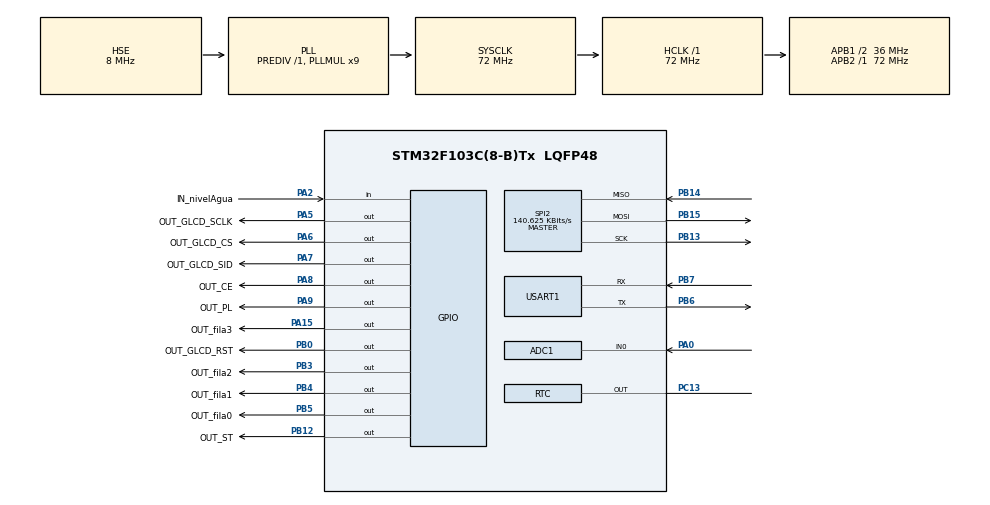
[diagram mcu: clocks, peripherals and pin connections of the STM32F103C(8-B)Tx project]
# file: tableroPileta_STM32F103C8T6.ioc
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ADC1.Channel-0\#ChannelRegularConversion=ADC_CHANNEL_0
ADC1.NbrOfConversionFlag=1
ADC1.Rank-0\#ChannelRegularConversion=1
ADC1.SamplingTime-0\#ChannelRegularConversion=ADC_SAMPLETIME_1CYCLE_5
ADC1.master=1
Mcu.Family=STM32F1
Mcu.Name=STM32F103C(8-B)Tx
Mcu.Package=LQFP48
NVIC.PriorityGroup=NVIC_PRIORITYGROUP_4
NVIC.RTC_Alarm_IRQn=true\:0\:0\:false\:false\:true\:true\:true
NVIC.RTC_IRQn=true\:0\:0\:false\:false\:true\:true\:true
NVIC.TIM2_IRQn=true\:0\:0\:false\:false\:true\:true\:true
PA0-WKUP.Signal=ADCx_IN0
PA13.Mode=Serial_Wire
PA13.Signal=SYS_JTMS-SWDIO
PA14.Mode=Serial_Wire
PA14.Signal=SYS_JTCK-SWCLK
PA15.GPIO_Label=OUT_fila3
PA15.Signal=GPIO_Output
PA2.GPIO_Label=IN_nivelAgua
PA2.GPIO_PuPd=GPIO_PULLUP
PA2.Signal=GPIO_Input
PA5.GPIO_Label=OUT_GLCD_SCLK
PA5.Signal=GPIO_Output
PA6.GPIO_Label=OUT_GLCD_CS
PA6.Signal=GPIO_Output
PA7.GPIO_Label=OUT_GLCD_SID
PA7.Signal=GPIO_Output
PA8.GPIO_Label=OUT_CE
PA8.Signal=GPIO_Output
PA9.GPIO_Label=OUT_PL
PA9.Signal=GPIO_Output
PB0.GPIO_Label=OUT_GLCD_RST
PB0.Signal=GPIO_Output
PB12.GPIO_Label=OUT_ST
PB12.Signal=GPIO_Output
PB13.Mode=Full_Duplex_Master
PB13.Signal=SPI2_SCK
PB14.Mode=Full_Duplex_Master
PB14.Signal=SPI2_MISO
PB15.Mode=Full_Duplex_Master
PB15.Signal=SPI2_MOSI
PB3.GPIO_Label=OUT_fila2
PB3.Signal=GPIO_Output
PB4.GPIO_Label=OUT_fila1
PB4.Signal=GPIO_Output
PB5.GPIO_Label=OUT_fila0
PB5.Signal=GPIO_Output
PB6.Mode=Asynchronous
PB6.Signal=USART1_TX
PB7.Mode=Asynchronous
PB7.Signal=USART1_RX
PC13-TAMPER-RTC.Mode=RTC OUT
PC13-TAMPER-RTC.Signal=RTC_OUT
PC14-OSC32_IN.Mode=LSE-External-Oscillator
PC14-OSC32_IN.Signal=RCC_OSC32_IN
PC15-OSC32_OUT.Mode=LSE-External-Oscillator
PC15-OSC32_OUT.Signal=RCC_OSC32_OUT
PD0-OSC_IN.Mode=HSE-External-Oscillator
PD0-OSC_IN.Signal=RCC_OSC_IN
PD1-OSC_OUT.Mode=HSE-External-Oscillator
PD1-OSC_OUT.Signal=RCC_OSC_OUT
ProjectManager.HeapSize=0x200
ProjectManager.StackSize=0x400
ProjectManager.TargetToolchain=STM32CubeIDE
RCC.ADCPresc=RCC_ADCPCLK2_DIV6
RCC.AHBFreq_Value=72000000
RCC.APB1CLKDivider=RCC_HCLK_DIV2
RCC.APB1Freq_Value=36000000
RCC.APB1TimFreq_Value=72000000
RCC.APB2Freq_Value=72000000
RCC.APB2TimFreq_Value=72000000
RCC.HCLKFreq_Value=72000000
RCC.PLLMUL=RCC_PLL_MUL9
RCC.PLLSourceVirtual=RCC_PLLSOURCE_HSE
RCC.SYSCLKFreq_VALUE=72000000
RCC.SYSCLKSource=RCC_SYSCLKSOURCE_PLLCLK
RCC.USBFreq_Value=72000000
RTC.Hours=12
RTC.Hours_A-RTC\ OUT=13
RTC.Minutes=59
RTC.Minutes_A-RTC\ OUT=1
RTC.Month=RTC_MONTH_MAY
RTC.OutPut=RTC_OUTPUTSOURCE_ALARM
RTC.Seconds=30
SH.ADCx_IN0.0=ADC1_IN0,IN0
SPI2.BaudRatePrescaler=SPI_BAUDRATEPRESCALER_256
SPI2.CalculateBaudRate=140.625 KBits/s
SPI2.Direction=SPI_DIRECTION_2LINES
SPI2.Mode=SPI_MODE_MASTER
SPI2.VirtualType=VM_MASTER
TIM2.Period=100-1
TIM2.Prescaler=7200-1
TIM3.Prescaler=72
USART1.VirtualMode=VM_ASYNC
VP_RTC_VS_RTC_Activate.Mode=RTC_Enabled
VP_RTC_VS_RTC_Calendar.Mode=RTC_Calendar
VP_TIM2_VS_ClockSourceINT.Mode=Internal
VP_TIM3_VS_ClockSourceINT.Mode=Internal
board=custom

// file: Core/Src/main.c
/* USER CODE BEGIN Header */
/**
  ******************************************************************************
  * @file           : main.c
  * @brief          : Main program body
  ******************************************************************************
  * @attention
  *
  * <h2><center>&copy; Copyright (c) 2021 STMicroelectronics.
  * All rights reserved.</center></h2>
  *
  * This software component is licensed by ST under BSD 3-Clause license,
  * the "License"; You may not use this file except in compliance with the
  * License. You may obtain a copy of the License at:
  *                        opensource.org/licenses/BSD-3-Clause
  *
  ******************************************************************************
  */
/* USER CODE END Header */
#include "main.h"
#include "adc.h"
#include "rtc.h"
#include "spi.h"
#include "tim.h"
#include "usart.h"
#include "gpio.h"

/* USER CODE BEGIN Includes */
#include "74HC165_SPI_lfs.h"
#include "74_HC595_SPI_lfs.h"
#include "IOports_lfs.h"
#include "leds_tablero.h"
#include "display_tablero.h"
#include "menu_tablero.h"
#include "funciones_tablero.h"
#include "hora_tablero.h"
/* USER CODE END Includes */

/* USER CODE BEGIN PV */
extern uint8_t flag_lecturas;
extern uint8_t flag_salidas;
RTC_TimeTypeDef hora;
//RTC_TimeTypeDef aux_tiempo = {0};
RTC_DateTypeDef aux_fecha = {0};

uint8_t refresh_pantalla = 29;

uint8_t flag_tick = 0;
/* USER CODE END PV */

void SystemClock_Config(void);

int main(void)
{

  /* MCU Configuration--------------------------------------------------------*/

  /* Reset of all peripherals, Initializes the Flash interface and the Systick. */
  HAL_Init();

  /* Configure the system clock */
  SystemClock_Config();

  /* Initialize all configured peripherals */
  MX_GPIO_Init();
  MX_RTC_Init();
  MX_USART1_UART_Init();
  MX_TIM2_Init();
  MX_SPI2_Init();
  MX_ADC1_Init();
  MX_TIM3_Init();
  /* USER CODE BEGIN 2 */

  spi_74HC165_init(&hspi2, OUT_PL_GPIO_Port, OUT_PL_Pin, OUT_CE_GPIO_Port, OUT_CE_Pin);
  spi_74HC595_init(&hspi2, OUT_ST_GPIO_Port, OUT_ST_Pin);

  HAL_TIM_Base_Start_IT(&htim2); //ticks every 10 ms.

  start_menu();
  /* USER CODE END 2 */

  /* Infinite loop */
  /* USER CODE BEGIN WHILE */
  while (1)
  {
	  update_teclas();

//	  uint8_t pruebaNumero = getNumber();

	  if (flag_tick){ //ticks every 10 ms.

		  update_horaFecha();
		  check_duracionPulsadores();

		  if (flag_lecturas != 0){ //para demorar las lecturas de teclas cada 30 ms.
			  flag_lecturas--;
		  }else{
			  lecturaTeclas();

			  flag_lecturas = 2;
		  }

		  if (flag_salidas != 0){ //para demorar la escritura de las salidas cada 100 ms.
			  flag_salidas--;
		  }else{
			  update_leds();
			  update_outputs();

//			  uint8_t datoPrueba[2] = {0xFF, 0xFF};
//			  spi_74HC595_Transmit(datoPrueba, 2);

			  flag_salidas = 9;
		  }

		  if (refresh_pantalla != 0){ //refresca cada 300 ms
			  pantallaUpdate();
			  refresh_pantalla = 29;
		  }

		  flag_tick = 0;
	  }//end if flag_tick

	  check_pulsadores();
	  check_menu();
	  runProg_hidro(PROG_CHECK);
	  runProg_llenado(PROG_CHECK);
	  runProg_luz(PROG_CHECK);
	  runProg_skimmer(PROG_CHECK);

    /* USER CODE END WHILE */

  }
}

void SystemClock_Config(void)
{
  RCC_OscInitTypeDef RCC_OscInitStruct = {0};
  RCC_ClkInitTypeDef RCC_ClkInitStruct = {0};
  RCC_PeriphCLKInitTypeDef PeriphClkInit = {0};

  /** Initializes the RCC Oscillators according to the specified parameters
  * in the RCC_OscInitTypeDef structure.
  */
  RCC_OscInitStruct.OscillatorType = RCC_OSCILLATORTYPE_LSI|RCC_OSCILLATORTYPE_HSE;
  RCC_OscInitStruct.HSEState = RCC_HSE_ON;
  RCC_OscInitStruct.HSEPredivValue = RCC_HSE_PREDIV_DIV1;
  RCC_OscInitStruct.HSIState = RCC_HSI_ON;
  RCC_OscInitStruct.LSIState = RCC_LSI_ON;
  RCC_OscInitStruct.PLL.PLLState = RCC_PLL_ON;
  RCC_OscInitStruct.PLL.PLLSource = RCC_PLLSOURCE_HSE;
  RCC_OscInitStruct.PLL.PLLMUL = RCC_PLL_MUL9;
  if (HAL_RCC_OscConfig(&RCC_OscInitStruct) != HAL_OK)
  {
    Error_Handler();
  }
  /** Initializes the CPU, AHB and APB buses clocks
  */
  RCC_ClkInitStruct.ClockType = RCC_CLOCKTYPE_HCLK|RCC_CLOCKTYPE_SYSCLK
                              |RCC_CLOCKTYPE_PCLK1|RCC_CLOCKTYPE_PCLK2;
  RCC_ClkInitStruct.SYSCLKSource = RCC_SYSCLKSOURCE_PLLCLK;
  RCC_ClkInitStruct.AHBCLKDivider = RCC_SYSCLK_DIV1;
  RCC_ClkInitStruct.APB1CLKDivider = RCC_HCLK_DIV2;
  RCC_ClkInitStruct.APB2CLKDivider = RCC_HCLK_DIV1;

  if (HAL_RCC_ClockConfig(&RCC_ClkInitStruct, FLASH_LATENCY_2) != HAL_OK)
  {
    Error_Handler();
  }
  PeriphClkInit.PeriphClockSelection = RCC_PERIPHCLK_RTC|RCC_PERIPHCLK_ADC;
  PeriphClkInit.RTCClockSelection = RCC_RTCCLKSOURCE_LSI;
  PeriphClkInit.AdcClockSelection = RCC_ADCPCLK2_DIV6;
  if (HAL_RCCEx_PeriphCLKConfig(&PeriphClkInit) != HAL_OK)
  {
    Error_Handler();
  }
}

/* USER CODE BEGIN 4 */
void HAL_TIM_PeriodElapsedCallback(TIM_HandleTypeDef *htim){
	if (htim->Instance == TIM2){
		flag_tick = 1;
	}
}

void HAL_RTC_AlarmAEventCallback(RTC_HandleTypeDef *hrtc){
	__NOP();
}
/* USER CODE END 4 */

void Error_Handler(void)
{
}

/************************ (C) COPYRIGHT STMicroelectronics *****END OF FILE****/
